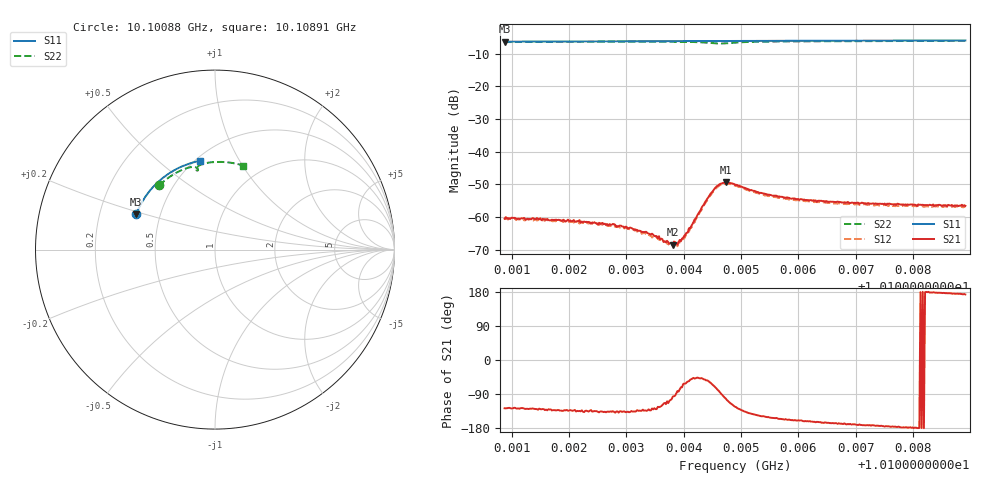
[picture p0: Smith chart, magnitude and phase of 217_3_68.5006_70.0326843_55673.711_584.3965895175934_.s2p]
#  HZ  S  RI  R  50.00
! Rohde & Schwarz Vector Network Analyzer
! Rohde-Schwarz,ZNB20-2Port,1311601062101988,3.16
! Created: UTC 3/20/2024, 4:58:17 PM
! freq[Hz]  re:S11  im:S11  re:S21  im:S21  re:S12  im:S12  re:S22  im:S22
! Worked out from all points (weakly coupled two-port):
!   401 points, 10.10088 GHz to 10.10891 GHz, reference 50 ohm
!   highest |S21| = -49.35 dB at 10.10473 GHz (marker M1); lowest = -68.4 dB at 10.10381 GHz (marker M2)
!   lowest |S11| = -6.3 dB at 10.10088 GHz (marker M3), VSWR 2.86, Z = 18.2 + j9.32 ohm
!   |S11| at or under -10 dB: nowhere
!   |S22| runs from -6.9 to -6.1 dB; largest |S21 - S12| = 0.00035
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1.0100878e10  -0.4395 0.1966  -0.000573 -0.000752  -0.000487 -0.000805  -0.3113 0.3576
1.01014e10  -0.4271 0.2259  -0.000594 -0.000728  -0.000521 -0.000755  -0.2859 0.3799
1.0102223e10  -0.4037 0.2703  -0.00058 -0.000629  -0.00055 -0.000632  -0.2428 0.4119
1.0102766e10  -0.3857 0.2978  -0.000557 -0.000556  -0.000476 -0.000549  -0.2119 0.43
1.0103047e10  -0.3758 0.3118  -0.000502 -0.000455  -0.00044 -0.000491  -0.1954 0.4385
1.0103348e10  -0.3645 0.3262  -0.000415 -0.000429  -0.000335 -0.000422  -0.1765 0.4467
1.0103569e10  -0.3559 0.3363  -0.000289 -0.000422  -0.000219 -0.000399  -0.1621 0.4523
1.0103689e10  -0.351 0.3421  -0.000185 -0.00037  -0.000142 -0.000395  -0.1538 0.4549
1.010377e10  -0.3479 0.3457  -0.000105 -0.000384  -9.56e-05 -0.000371  -0.1483 0.4565
1.010381e10  -0.3461 0.3474  -4.33e-05 -0.000376  -3.48e-05 -0.000359  -0.1453 0.4573
1.010391e10  -0.3422 0.3519  4.63e-05 -0.00041  9.6e-05 -0.000406  -0.138 0.4589
1.0104031e10  -0.3369 0.3572  0.000254 -0.000487  0.000294 -0.000429  -0.1286 0.4602
1.0104131e10  -0.3327 0.3616  0.000462 -0.000567  0.000489 -0.000488  -0.1203 0.4606
1.0104372e10  -0.3223 0.3716  0.00105 -0.00133  0.00111 -0.00119  -0.1008 0.4553
1.0104533e10  -0.3151 0.3782  0.000958 -0.00251  0.0011 -0.00232  -0.0943 0.4446
1.0104633e10  -0.3106 0.3824  0.000243 -0.0032  0.000491 -0.00304  -0.0976 0.4399
1.0104734e10  -0.3062 0.3864  -0.000706 -0.00333  -0.000434 -0.0032  -0.1028 0.4422
1.0104895e10  -0.2988 0.3925  -0.00173 -0.00261  -0.00144 -0.00267  -0.1026 0.454
1.0105437e10  -0.2728 0.4129  -0.00195 -0.00112  -0.00176 -0.00125  -0.0678 0.4773
1.010624e10  -0.232 0.4393  -0.0017 -0.000536  -0.00159 -0.000654  -0.0129 0.4874
1.0107586e10  -0.1584 0.474  -0.00161 -0.000135  -0.00149 -0.000277  0.0748 0.4856
1.0108911e10  -0.0811 0.4953  -0.00148 0.000181  -0.00142 1.09e-05  0.1578 0.4683
